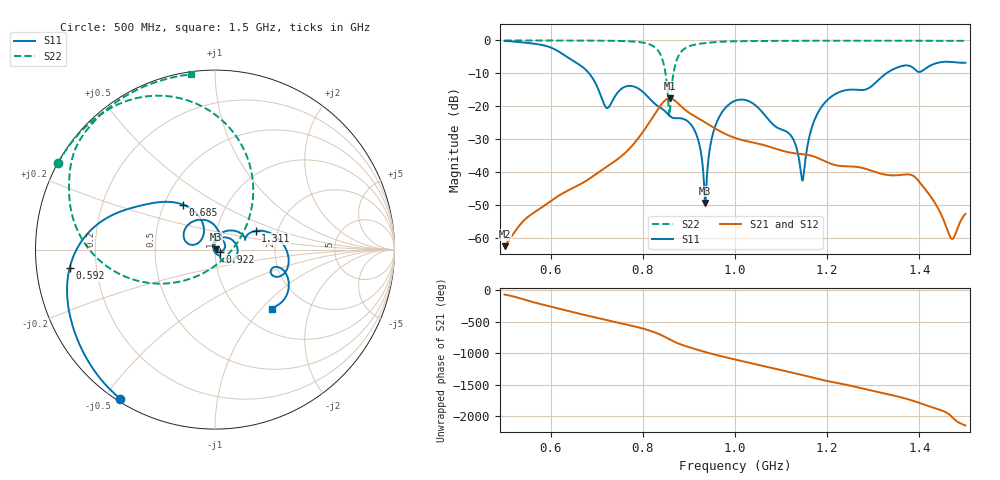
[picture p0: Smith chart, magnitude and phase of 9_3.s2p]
! TOUCHSTONE file generated by CST MICROWAVE STUDIO
! Date and time: Fri Oct 30 07:50:06 2020
! Project name: Scenario_1_Circular_Tissue_out_of_Line.cst
! Parameters = {dy1=-207.272; L_HA=400; MT=2.54; Rad_Dielectric=30; Rad_Lower=7.3; Rad_Upper=30; a_HA=580; a_WG=246; b_HA=500; b_WG=121; c_HA=0; c_WG=187; d_feed=85; dx1=520; h_feed=15; h_lower=18; h_upper=40}
! Header version: 2018
! Port assignment regex: !\s*Touchstone port\s*([0-9]+)\s*=\s*(CST MWS port|CST DS port)\s*([0-9]+|Zmin|Zmax)\s*\(\"(.*)\"\)(\s*mode\s*([0-9]+))?.*
! Touchstone port assignment:
! Touchstone port 1 = CST MWS port 1 ("")
! Touchstone port 2 = CST MWS port 2 ("")
# GHz S DB R 50
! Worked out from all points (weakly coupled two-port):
!   1001 points, 500 MHz to 1.5 GHz, reference 50 ohm
!   highest |S21| = -17.60 dB at 858 MHz (marker M1); lowest = -62.5 dB at 500 MHz (marker M2)
!   lowest |S11| = -49.4 dB at 935 MHz (marker M3), VSWR 1.01, Z = 50.3 + j0.0947 ohm
!   |S11| at or under -10 dB: 683.4 MHz to 1.329 GHz (645.2 MHz wide, 64.1 % of centre)
!   |S22| runs from -23.0 to 0.0 dB; largest |S21 - S12| = 2.6e-05
!   S11 on the Smith chart (normalised r, x): 500 MHz: 0.01, -0.55; 592 MHz: 0.10, -0.06; 685 MHz: 0.63, +0.35; 922 MHz: 1.05, -0.02; 1.311 GHz: 1.54, +0.34; 1.5 GHz: 1.37, -1.15
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0.5  -0.14 -122.5  -62.53 -69.6  -62.53 -69.6  -0.01 151.1
0.592  -1.76 -172.7  -49.63 113.7  -49.63 113.7  -0.02 144.7
0.667  -7.86 139.1  -43.50 -22.3  -43.50 -22.3  -0.04 138.3
0.685  -10.28 125.2  -41.93 -52.0  -41.93 -52.0  -0.05 136.5
0.721  -20.48 140.0  -38.44 -113.4  -38.44 -113.4  -0.09 132.1
0.771  -13.82 140.1  -32.89 164.2  -32.89 164.2  -0.26 122.8
0.834  -20.10 76.1  -20.67 27.2  -20.67 27.2  -3.28 83.4
0.858  -22.90 57.0  -17.60 -59.3  -17.60 -59.3  -22.98 -56.8
0.878  -23.62 45.2  -19.34 -128.4  -19.34 -128.4  -4.54 -169.7
0.922  -31.22 -23.8  -23.79 127.7  -23.79 127.7  -1.05 156.7
0.935  -49.38 16.1  -24.90 100.0  -24.90 99.9  -0.81 152.7
0.958  -25.72 79.0  -26.86 54.7  -26.86 54.7  -0.50 147.4
1  -18.35 13.7  -29.64 -18.7  -29.64 -18.7  -0.26 140.2
1.119  -28.52 -57.6  -34.07 140.1  -34.07 140.1  -0.11 128.0
1.146  -42.59 -153.9  -34.56 95.2  -34.56 95.2  -0.11 125.8
1.167  -26.37 95.4  -35.09 57.1  -35.09 57.1  -0.10 124.2
1.21  -16.98 48.9  -37.58 -13.8  -37.58 -13.8  -0.08 120.8
1.311  -12.05 24.7  -40.28 -175.6  -40.28 -175.6  -0.08 113.2
1.334  -9.49 14.3  -40.94 147.9  -40.94 147.9  -0.09 111.4
1.393  -9.14 -24.0  -41.84 32.0  -41.84 32.0  -0.10 106.8
1.47  -6.55 -39.7  -60.29 155.9  -60.29 155.9  -0.12 100.5
1.5  -6.78 -46.3  -52.74 16.0  -52.74 16.0  -0.13 97.8
